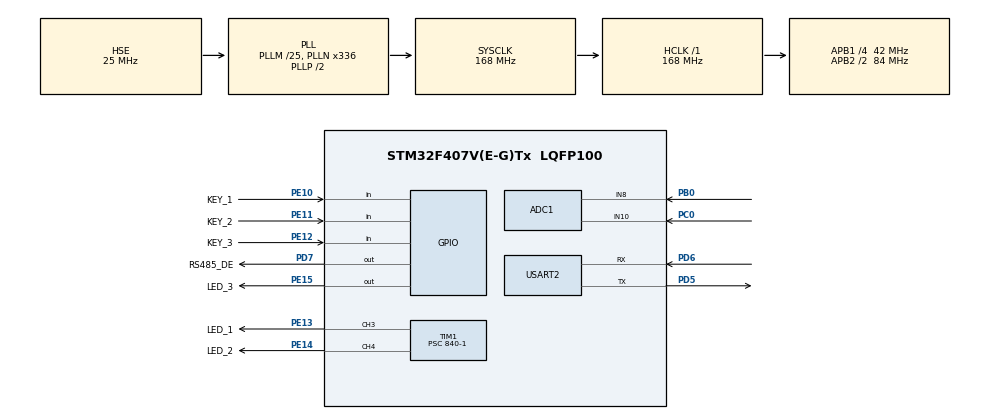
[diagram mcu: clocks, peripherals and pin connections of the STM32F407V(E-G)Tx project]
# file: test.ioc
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ADC1.Channel-0\#ChannelRegularConversion=ADC_CHANNEL_8
ADC1.Channel-2\#ChannelRegularConversion=ADC_CHANNEL_10
ADC1.Channel-3\#ChannelRegularConversion=ADC_CHANNEL_VREFINT
ADC1.ContinuousConvMode=DISABLE
ADC1.DiscontinuousConvMode=ENABLE
ADC1.InjNumberOfConversion=0
ADC1.NbrOfConversion=3
ADC1.NbrOfConversionFlag=1
ADC1.Rank-0\#ChannelRegularConversion=1
ADC1.Rank-2\#ChannelRegularConversion=2
ADC1.Rank-3\#ChannelRegularConversion=3
ADC1.SamplingTime-0\#ChannelRegularConversion=ADC_SAMPLETIME_3CYCLES
ADC1.SamplingTime-2\#ChannelRegularConversion=ADC_SAMPLETIME_3CYCLES
ADC1.SamplingTime-3\#ChannelRegularConversion=ADC_SAMPLETIME_3CYCLES
ADC1.ScanConvMode=ENABLE
ADC1.master=1
Mcu.Family=STM32F4
Mcu.Name=STM32F407V(E-G)Tx
Mcu.Package=LQFP100
NVIC.PriorityGroup=NVIC_PRIORITYGROUP_4
NVIC.TIM1_TRG_COM_TIM11_IRQn=true\:0\:0\:false\:false\:true\:true\:true\:true
NVIC.TIM1_UP_TIM10_IRQn=true\:0\:0\:false\:false\:true\:true\:true\:true
NVIC.USART2_IRQn=true\:0\:0\:false\:false\:true\:true\:true\:true
PB0.Signal=SharedAnalog_PB0
PC0.Signal=SharedAnalog_PC0
PD5.Mode=Asynchronous
PD5.Signal=USART2_TX
PD6.Mode=Asynchronous
PD6.Signal=USART2_RX
PD7.GPIO_Label=RS485_DE
PD7.Signal=GPIO_Output
PE10.GPIO_Label=KEY_1
PE10.GPIO_PuPd=GPIO_NOPULL
PE10.Signal=GPIO_Input
PE11.GPIO_Label=KEY_2
PE11.GPIO_PuPd=GPIO_NOPULL
PE11.Signal=GPIO_Input
PE12.GPIO_Label=KEY_3
PE12.GPIO_PuPd=GPIO_NOPULL
PE12.Signal=GPIO_Input
PE13.GPIO_Label=LED_1
PE13.GPIO_Speed=GPIO_SPEED_FREQ_LOW
PE13.Signal=S_TIM1_CH3
PE14.GPIO_Label=LED_2
PE14.GPIO_Speed=GPIO_SPEED_FREQ_LOW
PE14.Signal=S_TIM1_CH4
PE15.GPIO_Label=LED_3
PE15.GPIO_Speed=GPIO_SPEED_FREQ_LOW
PE15.PinState=GPIO_PIN_SET
PE15.Signal=GPIO_Output
PH0-OSC_IN.Mode=HSE-External-Oscillator
PH0-OSC_IN.Signal=RCC_OSC_IN
PH1-OSC_OUT.Mode=HSE-External-Oscillator
PH1-OSC_OUT.Signal=RCC_OSC_OUT
ProjectManager.HeapSize=0x200
ProjectManager.StackSize=0x400
ProjectManager.TargetToolchain=STM32CubeIDE
RCC.48MHZClocksFreq_Value=84000000
RCC.AHBFreq_Value=168000000
RCC.APB1CLKDivider=RCC_HCLK_DIV4
RCC.APB1Freq_Value=42000000
RCC.APB1TimFreq_Value=84000000
RCC.APB2CLKDivider=RCC_HCLK_DIV2
RCC.APB2Freq_Value=84000000
RCC.APB2TimFreq_Value=168000000
RCC.CortexFreq_Value=168000000
RCC.HCLKFreq_Value=168000000
RCC.HSE_VALUE=25000000
RCC.HSI_VALUE=16000000
RCC.LSE_VALUE=32768
RCC.PLLM=25
RCC.PLLN=336
RCC.PLLSourceVirtual=RCC_PLLSOURCE_HSE
RCC.SYSCLKFreq_VALUE=168000000
RCC.SYSCLKSource=RCC_SYSCLKSOURCE_PLLCLK
RCC.VCOOutputFreq_Value=336000000
SH.S_TIM1_CH3.0=TIM1_CH3,PWM Generation3 CH3
SH.S_TIM1_CH4.0=TIM1_CH4,PWM Generation4 CH4
SH.SharedAnalog_PB0.0=GPIO_Analog
SH.SharedAnalog_PB0.1=ADC1_IN8,IN8
SH.SharedAnalog_PC0.0=GPIO_Analog
SH.SharedAnalog_PC0.1=ADC1_IN10,IN10
TIM1.Channel-PWM\ Generation3\ CH3=TIM_CHANNEL_3
TIM1.Channel-PWM\ Generation4\ CH4=TIM_CHANNEL_4
TIM1.OCIdleState_3=TIM_OCIDLESTATE_RESET
TIM1.OCIdleState_4=TIM_OCIDLESTATE_RESET
TIM1.OCPolarity_3=TIM_OCPOLARITY_LOW
TIM1.OCPolarity_4=TIM_OCPOLARITY_LOW
TIM1.Period=500-1
TIM1.Prescaler=840-1
TIM1.Pulse-PWM\ Generation3\ CH3=0
TIM1.Pulse-PWM\ Generation4\ CH4=0
TIM10.Period=100-1
TIM10.Prescaler=16800-1
TIM11.AutoReloadPreload=TIM_AUTORELOAD_PRELOAD_DISABLE
TIM11.Period=200-1
TIM11.Prescaler=1680-1
USART2.VirtualMode=VM_ASYNC
VP_ADC1_Vref_Input.Mode=IN-Vrefint
VP_TIM10_VS_ClockSourceINT.Mode=Enable_Timer
VP_TIM11_VS_ClockSourceINT.Mode=Enable_Timer
VP_TIM1_VS_ClockSourceINT.Mode=Internal
board=custom

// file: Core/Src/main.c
/* USER CODE BEGIN Header */
/**
  ******************************************************************************
  * @file           : main.c
  * @brief          : Main program body
  ******************************************************************************
  * @attention
  *
  * Copyright (c) 2022 STMicroelectronics.
  * All rights reserved.
  *
  * This software is licensed under terms that can be found in the LICENSE file
  * in the root directory of this software component.
  * If no LICENSE file comes with this software, it is provided AS-IS.
  *
  ******************************************************************************
  */
/* USER CODE END Header */
#include "main.h"
#include "adc.h"
#include "tim.h"
#include "usart.h"
#include "gpio.h"

/* USER CODE BEGIN Includes */
#include "filter.h"
/* USER CODE END Includes */

/* USER CODE BEGIN PD */
#define ADC_DATA_MAX	10
#define KEY_MAX 		3
#define PWM_PULSE_MAX 	500
#define PWM_PULSE_MIN 	0
/* USER CODE END PD */

/* USER CODE BEGIN PV */
KEY_STATE_T Key[KEY_MAX] = {{.keyState = KEY_CHECK, .keyFlag = false, .keyPin = KEY_1_Pin},
					  	  	{.keyState = KEY_CHECK, .keyFlag = false, .keyPin = KEY_2_Pin},
							{.keyState = KEY_CHECK, .keyFlag = false, .keyPin = KEY_3_Pin}};

uint16_t led_1_pwm_pulse = 0;
int ADC_SINGLE[CH_MAX] = {0};
int ADC_DATA[CH_MAX][ADC_DATA_MAX] = {0};
int ADC_Value[CH_MAX] = {0};
int ADC_Filter[CH_MAX] = {0};
int LED_NUM[CH_MAX] = {0};

/* USER CODE END PV */

void SystemClock_Config(void);
/* USER CODE BEGIN PFP */
static void led_1_pwm(void);
static void led_2_pwm(void);
static void key_scan(void);
static void key_get(void);
static void adc_scan(void);
static void adc_filter(int ch_num, uint32_t avg);
/* USER CODE END PFP */

/* USER CODE BEGIN 0 */
//对printf的重定向
#ifdef __GNUC__
#define PUTCHAR_PROTOTYPE int __io_putchar(int ch)
#else
#define PUTCHAR_PROTOTYPE int fputc(int ch, FILE *f)
#endif
PUTCHAR_PROTOTYPE
{
	RS485_TX_EN;
	HAL_UART_Transmit(&huart2 , (uint8_t *)&ch, 1, 0xFFFF);
	RS485_RX_EN;

	return ch;
}
/* USER CODE END 0 */

int main(void)
{
  __disable_irq();

  /* MCU Configuration--------------------------------------------------------*/

  /* Reset of all peripherals, Initializes the Flash interface and the Systick. */
  HAL_Init();

  /* Configure the system clock */
  SystemClock_Config();

  /* Initialize all configured peripherals */
  MX_GPIO_Init();
  MX_TIM1_Init();
  MX_TIM10_Init();
  MX_TIM11_Init();
  MX_ADC1_Init();
  MX_USART2_UART_Init();
  /* USER CODE BEGIN 2 */
  HAL_TIM_PWM_Start(&htim1,TIM_CHANNEL_4);
  HAL_TIM_Base_Start_IT(&htim10);
  HAL_TIM_Base_Start_IT(&htim11);
  __enable_irq();
  /* USER CODE END 2 */

  /* Infinite loop */
  while (1)
  {

    /* USER CODE BEGIN 3 */
	key_get();
  }
  /* USER CODE END 3 */
}

void SystemClock_Config(void)
{
  RCC_OscInitTypeDef RCC_OscInitStruct = {0};
  RCC_ClkInitTypeDef RCC_ClkInitStruct = {0};

  /** Configure the main internal regulator output voltage
  */
  __HAL_RCC_PWR_CLK_ENABLE();
  __HAL_PWR_VOLTAGESCALING_CONFIG(PWR_REGULATOR_VOLTAGE_SCALE1);

  /** Initializes the RCC Oscillators according to the specified parameters
  * in the RCC_OscInitTypeDef structure.
  */
  RCC_OscInitStruct.OscillatorType = RCC_OSCILLATORTYPE_HSE;
  RCC_OscInitStruct.HSEState = RCC_HSE_ON;
  RCC_OscInitStruct.PLL.PLLState = RCC_PLL_ON;
  RCC_OscInitStruct.PLL.PLLSource = RCC_PLLSOURCE_HSE;
  RCC_OscInitStruct.PLL.PLLM = 25;
  RCC_OscInitStruct.PLL.PLLN = 336;
  RCC_OscInitStruct.PLL.PLLP = RCC_PLLP_DIV2;
  RCC_OscInitStruct.PLL.PLLQ = 4;
  if (HAL_RCC_OscConfig(&RCC_OscInitStruct) != HAL_OK)
  {
    Error_Handler();
  }

  /** Initializes the CPU, AHB and APB buses clocks
  */
  RCC_ClkInitStruct.ClockType = RCC_CLOCKTYPE_HCLK|RCC_CLOCKTYPE_SYSCLK
                              |RCC_CLOCKTYPE_PCLK1|RCC_CLOCKTYPE_PCLK2;
  RCC_ClkInitStruct.SYSCLKSource = RCC_SYSCLKSOURCE_PLLCLK;
  RCC_ClkInitStruct.AHBCLKDivider = RCC_SYSCLK_DIV1;
  RCC_ClkInitStruct.APB1CLKDivider = RCC_HCLK_DIV4;
  RCC_ClkInitStruct.APB2CLKDivider = RCC_HCLK_DIV2;

  if (HAL_RCC_ClockConfig(&RCC_ClkInitStruct, FLASH_LATENCY_5) != HAL_OK)
  {
    Error_Handler();
  }
}

/* USER CODE BEGIN 4 */
//LED_1渐变,呼吸灯，使用TIM11调频，T=2s
static void led_1_pwm() {
	static bool led_1_state = false;
	if (led_1_state == false) {
		led_1_pwm_pulse++;
		led_1_state = (led_1_pwm_pulse < PWM_PULSE_MAX ? false : true);
	}
	else {
		led_1_pwm_pulse--;
		led_1_state = (led_1_pwm_pulse != PWM_PULSE_MIN ? true : false);
	}
	TIM1->CCR3 = led_1_pwm_pulse;
}

//LED_2改变亮度�?????????3挡可调）
static void led_2_pwm() {
	static uint16_t pwm_pulse;
	pwm_pulse += (pwm_pulse != PWM_PULSE_MAX ? (PWM_PULSE_MAX * 0.25) : (-PWM_PULSE_MAX));
	TIM1->CCR4 = pwm_pulse;
}

//按键扫描+消抖
static void key_scan() {
	for (int i = 0; i < 3; i++) {
		switch(Key[i].keyState){
		case KEY_CHECK:
			if (HAL_GPIO_ReadPin(KEY_GPIO_Port, Key[i].keyPin) ==  GPIO_PIN_RESET) {
				Key[i].keyState = KEY_COMFIRM;
			}
			break;
		case KEY_COMFIRM:
			if (HAL_GPIO_ReadPin(KEY_GPIO_Port, Key[i].keyPin) ==  GPIO_PIN_RESET) {
				Key[i].keyFlag = true;
				Key[i].keyState = KEY_RELEASE;
			}
			else {
				Key[i].keyState = KEY_CHECK;
			}
			break;
		case KEY_RELEASE:
			if (HAL_GPIO_ReadPin(KEY_GPIO_Port, Key[i].keyPin) ==  GPIO_PIN_SET) {
				Key[i].keyState = KEY_CHECK;
			}
			break;
		default:
			break;
		}
	}
}

//执行按键操作
static void key_get() {
	//key_1触发|LED_1�?????????�?????????
	if (Key[0].keyFlag == true) {
		Key[0].keyFlag = false;
		static bool led_1_state;
		if (!led_1_state){
			led_1_state = (HAL_TIM_PWM_Start(&htim1,TIM_CHANNEL_3) == HAL_OK ? true : false);
		}
		else {
			led_1_state = (HAL_TIM_PWM_Stop(&htim1,TIM_CHANNEL_3) == HAL_OK ? false : true);
		}
	}
	//key_2触发|LED_2�?????????�?????????
	else if (Key[1].keyFlag == true) {
		Key[1].keyFlag = false;
		led_2_pwm();
	}
	//key_3触发|LED_3�?????????�?????????
	else if (Key[2].keyFlag == true) {
		Key[2].keyFlag = false;
		HAL_GPIO_TogglePin(LED_3_GPIO_Port, LED_3_Pin);
	}
}

//定时器终端回�?????
void HAL_TIM_PeriodElapsedCallback(TIM_HandleTypeDef *htim)
{
	//100Hz
	if (htim->Instance == TIM10) {
		key_scan();
		//更改定时器时，需要更改adc_scan定时器开关号和filter计数�?
		adc_scan();
	}
	//500Hz
	if (htim->Instance == TIM11) {
		led_1_pwm();
	}
}

//ADC多�?�道轮询及转�?
static void adc_scan() {
	static uint16_t data_num[CH_MAX];
	static uint16_t data_sum[CH_MAX];
	static uint16_t data_max[CH_MAX] = {V_MIN};
	static uint16_t data_min[CH_MAX] = {V_MAX};

	HAL_TIM_Base_Stop_IT(&htim10);

	//轮询通道获取ADC�?
	for (int ch_num = 0; ch_num < CH_MAX; ch_num++) {
		HAL_ADC_Start(&hadc1);
		HAL_ADC_PollForConversion(&hadc1,50);
		ADC_SINGLE[ch_num] = HAL_ADC_GetValue(&hadc1);
		data_max[ch_num] = (data_max[ch_num] > ADC_SINGLE[ch_num] ? data_max[ch_num] : ADC_SINGLE[ch_num]);
		data_min[ch_num] = (data_min[ch_num] < ADC_SINGLE[ch_num] ? data_min[ch_num] : ADC_SINGLE[ch_num]);
		ADC_DATA[ch_num][data_num[ch_num]] = ADC_SINGLE[ch_num];
		data_sum[ch_num] += ADC_DATA[ch_num][data_num[ch_num]];
		data_num[ch_num]++;
		//当数组满时，去极值求均�?�滤�?
		if (data_num[ch_num] == ADC_DATA_MAX) {
			data_sum[ch_num] -= (data_max[ch_num] + data_min[ch_num]);
			//右移三位求均�?
			adc_filter(ch_num, data_sum[ch_num] >> 3);
			data_sum[ch_num] = 0;
			data_max[ch_num] = V_MIN;
			data_min[ch_num] = V_MAX;
			data_num[ch_num] = 0;
		}
	}
	HAL_TIM_Base_Start_IT(&htim10);
}

//ADCtoLED过滤
static void adc_filter(int ch_num, uint32_t avg) {
    ADC_Value[ch_num] = avg;
    ch[ch_num].adc_x = ADC_Value[ch_num];
    ADC_Filter[ch_num] = filter_x(&ch[ch_num], V_SINGE);
    led[ch_num].adc_x = ADC_Filter[ch_num];
    LED_NUM[ch_num] = filter_led(&led[ch_num], V_SINGE);
    //printf("CH:%d, ADC_Value:%d, ADC_Filter_Value:%d, LED_NUM:%d\r\n", ch_num, ADC_Value[ch_num], ADC_Filter[ch_num], LED_NUM[ch_num]);
}
/* USER CODE END 4 */

void Error_Handler(void)
{
  __disable_irq();
  while (1)
  {
  }
}
